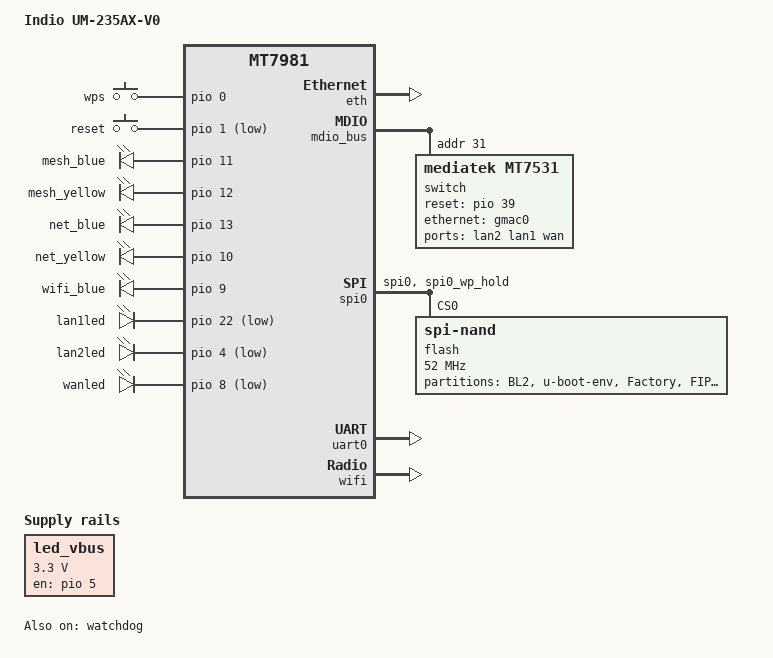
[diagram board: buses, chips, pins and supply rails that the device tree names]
// SPDX-License-Identifier: (GPL-2.0 OR MIT)

/dts-v1/;

#include "mt7981.dtsi"

/ {
	model = "Indio UM-235AX-V0";
	compatible = "indio,um-235ax-v0";

	aliases {
		serial0 = &uart0;
	};

	chosen {
		stdout-path = "serial0:115200n8";
	};

	gpio-keys {
		compatible = "gpio-keys";

		wps {
			label = "wps";
			gpios = <&pio 0 GPIO_ACTIVE_HIGH>;
			linux,code = <KEY_WPS_BUTTON>;
		};

		reset {
			label = "reset";
			linux,code = <KEY_RESTART>;
			gpios = <&pio 1 GPIO_ACTIVE_LOW>;
		};
	};

	reg_led_vbus {
		compatible = "regulator-fixed";
		regulator-name = "led_vbus";
		regulator-min-microvolt = <3300000>;
		regulator-max-microvolt = <3300000>;
		enable-active-high;
		regulator-always-on;
		gpios = <&pio 5 GPIO_ACTIVE_HIGH>;
	};

	leds {
		compatible = "gpio-leds";

		mesh_blue {
			label = "mesh_blue";
			gpios = <&pio 11 GPIO_ACTIVE_HIGH>;
		};

		led_power: mesh_yellow {
			label = "mesh_yellow";
			gpios = <&pio 12 GPIO_ACTIVE_HIGH>;
		};

		net_blue {
			label = "net_blue";
			gpios = <&pio 13 GPIO_ACTIVE_HIGH>;
		};

		net_yellow {
			label = "net_yellow";
			gpios = <&pio 10 GPIO_ACTIVE_HIGH>;
		};

		wifi_blue {
			label = "wifi_blue";
			gpios = <&pio 9 GPIO_ACTIVE_HIGH>;
		};

		lan1led {
			label = "lan1led";
			gpios = <&pio 22 GPIO_ACTIVE_LOW>;
		};

		lan2led {
			label = "lan2led";
			gpios = <&pio 4 GPIO_ACTIVE_LOW>;
		};

		wanled {
			label = "wanled";
			gpios = <&pio 8 GPIO_ACTIVE_LOW>;
		};
	};
};

&eth {
	pinctrl-names = "default";
	pinctrl-0 = <&mdio_pins>;

	status = "okay";

	gmac0: mac@0 {
		compatible = "mediatek,eth-mac";
		reg = <0>;
		phy-mode = "2500base-x";

		nvmem-cell-names = "mac-address";
		nvmem-cells = <&macaddr_factory_24>;

		fixed-link {
			speed = <2500>;
			full-duplex;
			pause;
		};
	};

	gmac1: mac@1 {
		compatible = "mediatek,eth-mac";
		reg = <1>;
		phy-mode = "gmii";
		phy-handle = <&int_gbe_phy>;

		nvmem-cell-names = "mac-address";
		nvmem-cells = <&macaddr_factory_2a>;
	};
};

&mdio_bus {
	switch: switch@1f {
		compatible = "mediatek,mt7531";
		reg = <31>;
		reset-gpios = <&pio 39 GPIO_ACTIVE_HIGH>;

		ports {
			#address-cells = <1>;
			#size-cells = <0>;

			port@1 {
				reg = <1>;
				label = "lan2";
			};

			port@3 {
				reg = <3>;
				label = "lan1";
			};

			port@5 {
				reg = <5>;
				label = "wan";
				phy-mode = "2500base-x";

				fixed-link {
					speed = <2500>;
					full-duplex;
					pause;
				};
			};

			port@6 {
				reg = <6>;
				ethernet = <&gmac0>;
				phy-mode = "2500base-x";

				fixed-link {
					speed = <2500>;
					full-duplex;
					pause;
				};
			};
		};
	};
};

&pio {
	spi0_flash_pins: spi0-pins {
		mux {
			function = "spi";
			groups = "spi0", "spi0_wp_hold";
		};
	};

	spi2_flash_pins: spi2-pins {
		mux {
			function = "spi";
			groups = "spi2", "spi2_wp_hold";
		};

		conf-pu {
			pins = "SPI2_CS", "SPI2_HOLD", "SPI2_WP";
			drive-strength = <8>;
			bias-pull-up = <103>;
		};

		conf-pd {
			pins = "SPI2_CLK", "SPI2_MOSI", "SPI2_MISO";
			drive-strength = <8>;
			bias-pull-down = <103>;
		};
	};
};

&spi0 {
	pinctrl-names = "default";
	pinctrl-0 = <&spi0_flash_pins>;
	status = "okay";

	flash@0 {
		#address-cells = <1>;
		#size-cells = <1>;

		compatible = "spi-nand";
		reg = <0>;

		spi-max-frequency = <52000000>;
		spi-tx-bus-width = <4>;
		spi-rx-bus-width = <4>;

		partitions {
			compatible = "fixed-partitions";
			#address-cells = <1>;
			#size-cells = <1>;

			partition@0 {
				label = "BL2";
				reg = <0x0 0x100000>;
			};

			partition@100000 {
				label = "u-boot-env";
				reg = <0x100000 0x80000>;
			};

			factory: partition@180000 {
				label = "Factory";
				reg = <0x180000 0x200000>;
				read-only;

				nvmem-layout {
					compatible = "fixed-layout";
					#address-cells = <1>;
					#size-cells = <1>;

					eeprom_factory: eeprom@0 {
						reg = <0x0 0x1000>;
					};

					macaddr_factory_24: macaddr@24 {
						reg = <0x24 0x6>;
					};

					macaddr_factory_2a: macaddr@2a {
						reg = <0x2a 0x6>;
					};
				};
			};

			partition@380000 {
				label = "FIP";
				reg = <0x380000 0x200000>;
			};

			partition@580000 {
				label = "ubi";
				reg = <0x580000 0x4000000>;
			};

			partition@4580000 {
				label = "nvram_config";
				reg = <0x4580000 0x80000>;
			};
		};
	};
};


&uart0 {
	status = "okay";
};

&watchdog {
	status = "okay";
};

&wifi {
	status = "okay";
	nvmem-cells = <&eeprom_factory 0>;
	nvmem-cell-names = "eeprom";
};
